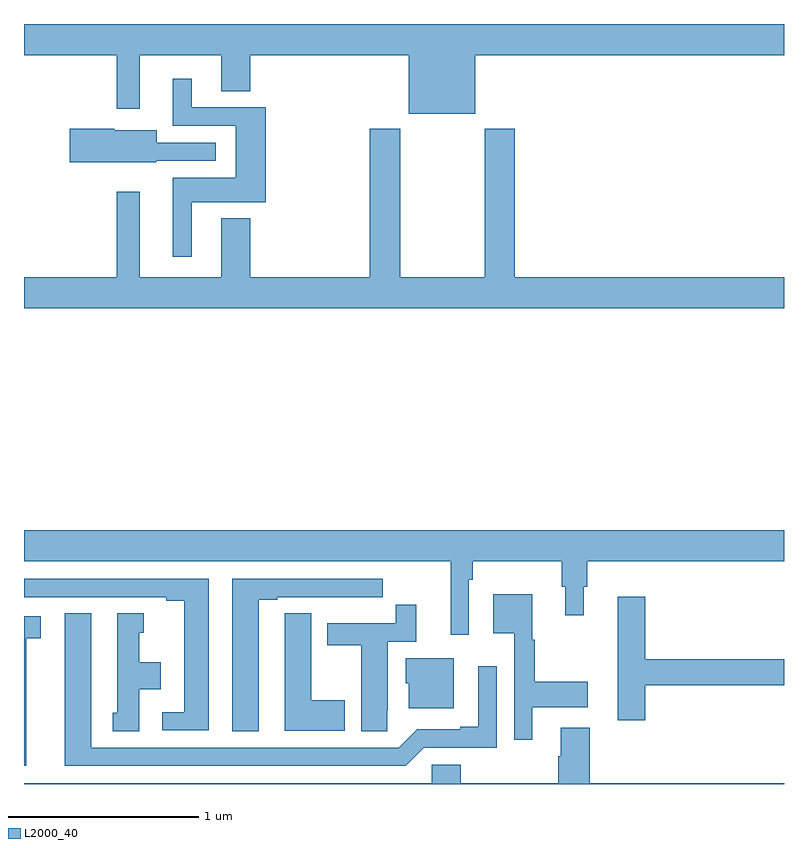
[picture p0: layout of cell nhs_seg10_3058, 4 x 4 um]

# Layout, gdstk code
import gdstk
lib = gdstk.Library(unit=1e-6, precision=1e-09)
def P(c, l, *ps):  # polygons
    for p in ps: c.add(gdstk.Polygon(p, *l))
L2000_40 = (2000, 40)

nhs_seg10_3058 = lib.new_cell('nhs_seg10_3058')
P(nhs_seg10_3058, L2000_40, [(279.376,1280.336),(281,1280.336),(281,1280.5),(277,1280.5),(277,1280.336),(277.488,1280.336),(277.488,1280.055),(277.609,1280.055),(277.609,1280.336),(278.039,1280.336),(278.039,1280.146),(278.192,1280.146),(278.192,1280.336),(279.026,1280.336),(279.026,1280.027),(279.376,1280.027)],
  [(277.882,1279.562),(278.273,1279.562),(278.273,1280.061),(277.882,1280.061),(277.882,1280.212),(277.784,1280.212),(277.784,1279.965),(278.114,1279.965),(278.114,1279.69),(277.784,1279.69),(277.784,1279.275),(277.882,1279.275)],
  [(277.695,1279.779),(278.008,1279.779),(278.008,1279.875),(277.699,1279.875),(277.699,1279.942),(277.476,1279.942),(277.476,1279.95),(277.242,1279.95),(277.242,1279.772),(277.695,1279.772)],
  [(278.819,1279.948),(278.819,1279.168),(278.192,1279.168),(278.192,1279.477),(278.039,1279.477),(278.039,1279.168),(277.609,1279.168),(277.609,1279.618),(277.488,1279.618),(277.488,1279.168),(277,1279.168),(277,1279.004),(281,1279.004),(281,1279.168),(279.584,1279.168),(279.584,1279.948),(279.424,1279.948),(279.424,1279.168),(278.979,1279.168),(278.979,1279.948)],
  [(279.342,1277.576),(279.362,1277.576),(279.362,1277.672),(279.829,1277.672),(279.829,1277.538),(279.848,1277.538),(279.848,1277.388),(279.946,1277.388),(279.946,1277.538),(279.965,1277.538),(279.965,1277.672),(281,1277.672),(281,1277.836),(277,1277.836),(277,1277.672),(279.245,1277.672),(279.245,1277.286),(279.342,1277.286)],
  [(277.972,1277.58),(277,1277.58),(277,1277.484),(277.748,1277.484),(277.748,1277.464),(277.844,1277.464),(277.844,1276.878),(277.728,1276.878),(277.728,1276.782),(277.972,1276.782)],
  [(278.236,1277.469),(278.332,1277.469),(278.332,1277.484),(278.608,1277.484),(278.608,1277.483),(278.774,1277.483),(278.774,1277.484),(278.887,1277.484),(278.887,1277.58),(278.096,1277.58),(278.096,1276.777),(278.236,1276.777)],
  [(279.676,1276.904),(279.967,1276.904),(279.967,1277.039),(279.688,1277.039),(279.688,1277.259),(279.676,1277.259),(279.676,1277.5),(279.47,1277.5),(279.47,1277.294),(279.579,1277.294),(279.579,1276.734),(279.676,1276.734)],
  [(280.271,1277.02),(281,1277.02),(281,1277.156),(280.271,1277.156),(280.271,1277.485),(280.124,1277.485),(280.124,1276.836),(280.271,1276.836)],
  [(278.913,1276.888),(278.914,1276.888),(278.914,1277.25),(279.065,1277.25),(279.065,1277.443),(278.956,1277.443),(278.956,1277.346),(278.597,1277.346),(278.597,1277.23),(278.774,1277.23),(278.774,1276.777),(278.913,1276.777)],
  [(278.689,1276.941),(278.512,1276.941),(278.512,1277.399),(278.373,1277.399),(278.373,1277.291),(278.372,1277.291),(278.372,1276.781),(278.689,1276.781)],
  [(277.606,1277),(277.72,1277),(277.72,1277.14),(277.606,1277.14),(277.606,1277.295),(277.63,1277.295),(277.63,1277.398),(277.49,1277.398),(277.49,1276.875),(277.466,1276.875),(277.466,1276.777),(277.606,1276.777)],
  [(279.105,1276.692),(279.489,1276.692),(279.489,1277.119),(279.392,1277.119),(279.392,1276.801),(279.296,1276.801),(279.296,1276.788),(279.069,1276.788),(278.973,1276.692),(277.354,1276.692),(277.354,1277.398),(277.214,1277.398),(277.214,1276.596),(279.009,1276.596)],
  [(277.012,1277.266),(277.087,1277.266),(277.087,1277.382),(277,1277.382),(277,1276.596),(277.012,1276.596)],
  [(279.262,1277.161),(279.008,1277.161),(279.008,1277.031),(279.026,1277.031),(279.026,1276.898),(279.262,1276.898)],
  [(277,1276.5),(281,1276.5),(281,1276.504),(279.977,1276.504),(279.977,1276.795),(279.824,1276.795),(279.824,1276.646),(279.812,1276.646),(279.812,1276.504),(279.299,1276.504),(279.299,1276.602),(279.147,1276.602),(279.147,1276.504),(277,1276.504)])

lib.write_gds('nhs_seg10_3058.gds')
